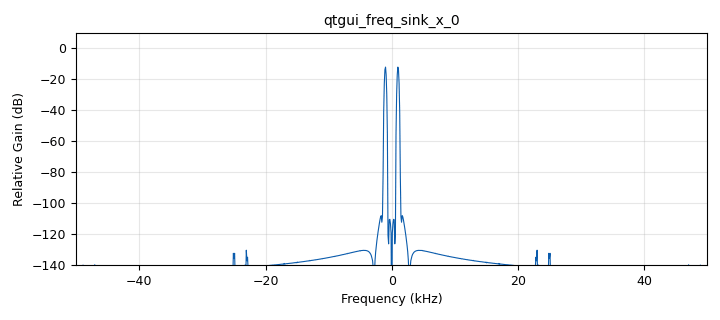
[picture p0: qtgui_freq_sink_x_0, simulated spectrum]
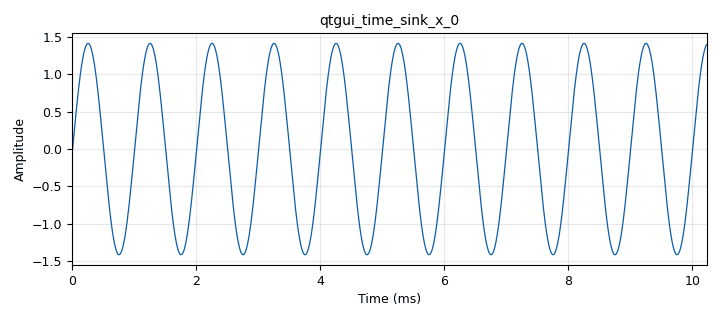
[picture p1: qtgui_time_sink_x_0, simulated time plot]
options:
  parameters:
    category: Custom
    generate_options: qt_gui
    id: top_block
    output_language: python
  states: {}

blocks:
- name: Freq_fondamentale
  id: variable
  parameters:
    value: '1000'
  states: {}
- name: a1
  id: variable_qtgui_range
  parameters:
    label: a1
    start: '-2'
    step: '0.1'
    stop: '2'
    value: '1'
    widget: slider
  states: {}
- name: b1
  id: variable_qtgui_range
  parameters:
    label: b1
    start: '-2'
    step: '0.1'
    stop: '2'
    value: '1'
    widget: slider
  states: {}
- name: samp_rate
  id: variable
  parameters:
    value: '100000'
  states: {}
- name: analog_sig_source_x_0
  id: analog_sig_source_x
  parameters:
    amp: a1
    freq: Freq_fondamentale
    offset: '0'
    phase: '0'
    samp_rate: samp_rate
    type: float
    waveform: analog.GR_COS_WAVE
  states: {}
- name: analog_sig_source_x_0_0
  id: analog_sig_source_x
  parameters:
    amp: b1
    freq: Freq_fondamentale
    offset: '0'
    phase: '0'
    samp_rate: samp_rate
    type: float
    waveform: analog.GR_SIN_WAVE
  states: {}
- name: blocks_add_xx_0
  id: blocks_add_xx
  parameters:
    type: float
  states: {}
- name: blocks_throttle2_0
  id: blocks_throttle2
  parameters:
    samples_per_second: samp_rate
    type: float
  states: {}
- name: blocks_throttle2_0_0
  id: blocks_throttle2
  parameters:
    samples_per_second: samp_rate
    type: float
  states: {}
- name: qtgui_freq_sink_x_0
  id: qtgui_freq_sink_x
  parameters:
    bw: samp_rate
    fc: '0'
    fftsize: '1024'
    type: float
  states: {}
- name: qtgui_time_sink_x_0
  id: qtgui_time_sink_x
  parameters:
    autoscale: 'True'
    ctrlpanel: 'True'
    grid: 'True'
    label1: ''
    size: '1024'
    srate: samp_rate
    tr_mode: qtgui.TRIG_MODE_NORM
    type: float
  states: {}

connections:
- [analog_sig_source_x_0, '0', blocks_throttle2_0_0, '0']
- [analog_sig_source_x_0_0, '0', blocks_throttle2_0, '0']
- [blocks_add_xx_0, '0', qtgui_freq_sink_x_0, '0']
- [blocks_add_xx_0, '0', qtgui_time_sink_x_0, '0']
- [blocks_throttle2_0, '0', blocks_add_xx_0, '1']
- [blocks_throttle2_0_0, '0', blocks_add_xx_0, '0']

metadata:
  file_format: 1
  grc_version: 3.10.6.0
